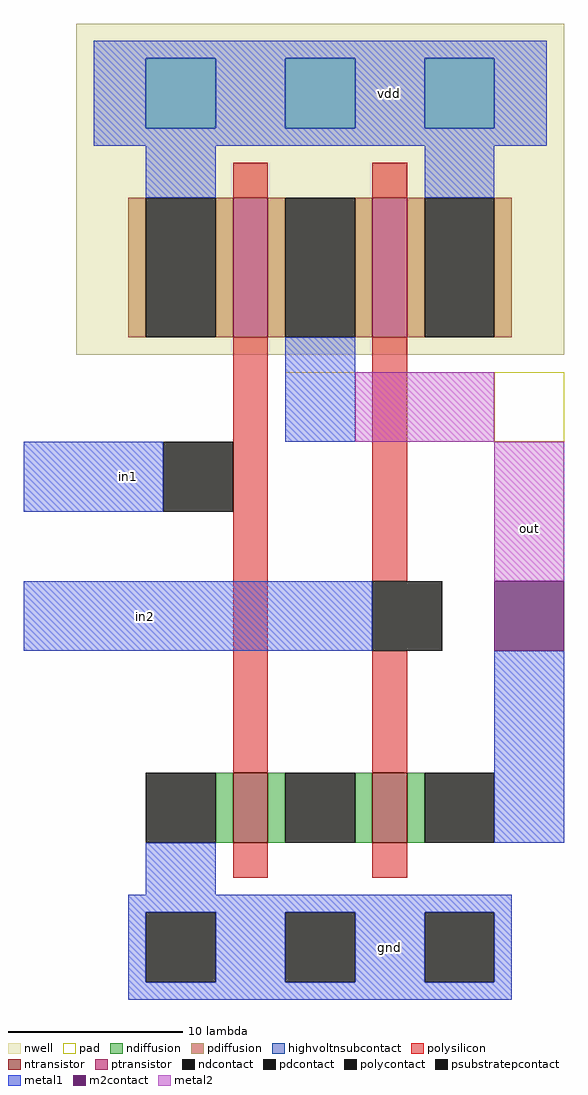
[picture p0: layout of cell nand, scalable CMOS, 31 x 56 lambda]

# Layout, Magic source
magic
tech scmos
<< nwell >>
rect -13 1 15 20
<< polysilicon >>
rect -4 10 -2 12
rect 4 10 6 12
rect -4 -23 -2 2
rect 4 -12 6 2
rect 4 -23 6 -16
rect -4 -29 -2 -27
rect 4 -29 6 -27
<< ndiffusion >>
rect -5 -27 -4 -23
rect -2 -27 -1 -23
rect 3 -27 4 -23
rect 6 -27 7 -23
<< pdiffusion >>
rect -10 2 -9 10
rect -5 2 -4 10
rect -2 2 -1 10
rect 3 2 4 10
rect 6 2 7 10
rect 11 2 12 10
<< metal1 >>
rect -12 18 14 19
rect -12 14 -9 18
rect -5 14 -1 18
rect 3 14 7 18
rect 11 14 14 18
rect -12 13 14 14
rect -9 10 -5 13
rect 7 10 11 13
rect -1 -4 3 2
rect -16 -8 -8 -4
rect -16 -16 4 -12
rect 11 -27 15 -16
rect -9 -30 -5 -27
rect -10 -31 12 -30
rect -10 -35 -9 -31
rect -5 -35 -1 -31
rect 3 -35 7 -31
rect 11 -35 12 -31
rect -10 -36 12 -35
<< metal2 >>
rect 3 -4 11 0
rect 11 -12 15 -4
<< ntransistor >>
rect -4 -27 -2 -23
rect 4 -27 6 -23
<< ptransistor >>
rect -4 2 -2 10
rect 4 2 6 10
<< polycontact >>
rect -8 -8 -4 -4
rect 4 -16 8 -12
<< ndcontact >>
rect -9 -27 -5 -23
rect -1 -27 3 -23
rect 7 -27 11 -23
<< pdcontact >>
rect -9 2 -5 10
rect -1 2 3 10
rect 7 2 11 10
<< m2contact >>
rect 11 -16 15 -12
<< psubstratepcontact >>
rect -9 -35 -5 -31
rect -1 -35 3 -31
rect 7 -35 11 -31
<< highvoltnsubcontact >>
rect -9 14 -5 18
rect -1 14 3 18
rect 7 14 11 18
<< pad >>
rect -1 -4 3 0
rect 11 -4 15 0
<< labels >>
rlabel metal1 5 16 5 16 5 vdd
rlabel metal1 5 -33 5 -33 1 gnd
rlabel metal1 -10 -6 -10 -6 1 in1
rlabel metal1 -9 -14 -9 -14 1 in2
rlabel metal2 13 -9 13 -9 7 out
<< end >>
